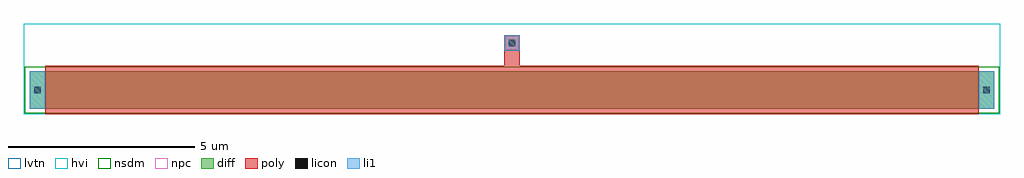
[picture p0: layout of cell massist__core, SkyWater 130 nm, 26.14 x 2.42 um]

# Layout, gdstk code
import gdstk
lib = gdstk.Library(unit=1e-6, precision=1e-09)
def R(c, l, rs):  # rectangles x0, y0, x1, y1
    for r in rs: c.add(gdstk.rectangle(r[:2], r[2:], *l))
diff = (65, 20)
poly = (66, 20)
licon = (66, 44)
li1 = (67, 20)
hvi = (75, 20)
nsdm = (93, 44)
npc = (95, 20)
lvtn = (125, 44)

massist__core = lib.new_cell('massist__core')
R(massist__core, diff, [(0,0,25.84,1)])
R(massist__core, poly, [(0.42,-0.15,25.42,1), (0.42,1,25.42,1.15), (0.42,1,25.42,1.15), (12.71,1.15,13.13,1.97)])
R(massist__core, licon, [(0.125,0.415,0.295,0.585), (25.545,0.415,25.715,0.585), (12.835,1.675,13.005,1.845)])
R(massist__core, li1, [(0,0,0.42,1), (25.42,0,25.84,1), (12.71,1.55,13.13,1.97)])
R(massist__core, hvi, [(-0.15,-0.15,25.99,2.27)])
R(massist__core, nsdm, [(-0.125,-0.125,25.965,1.125)])
R(massist__core, npc, [(12.735,1.575,13.105,1.945)])
R(massist__core, lvtn, [(-0.15,-0.15,25.99,2.27)])

lib.write_gds('massist__core.gds')
